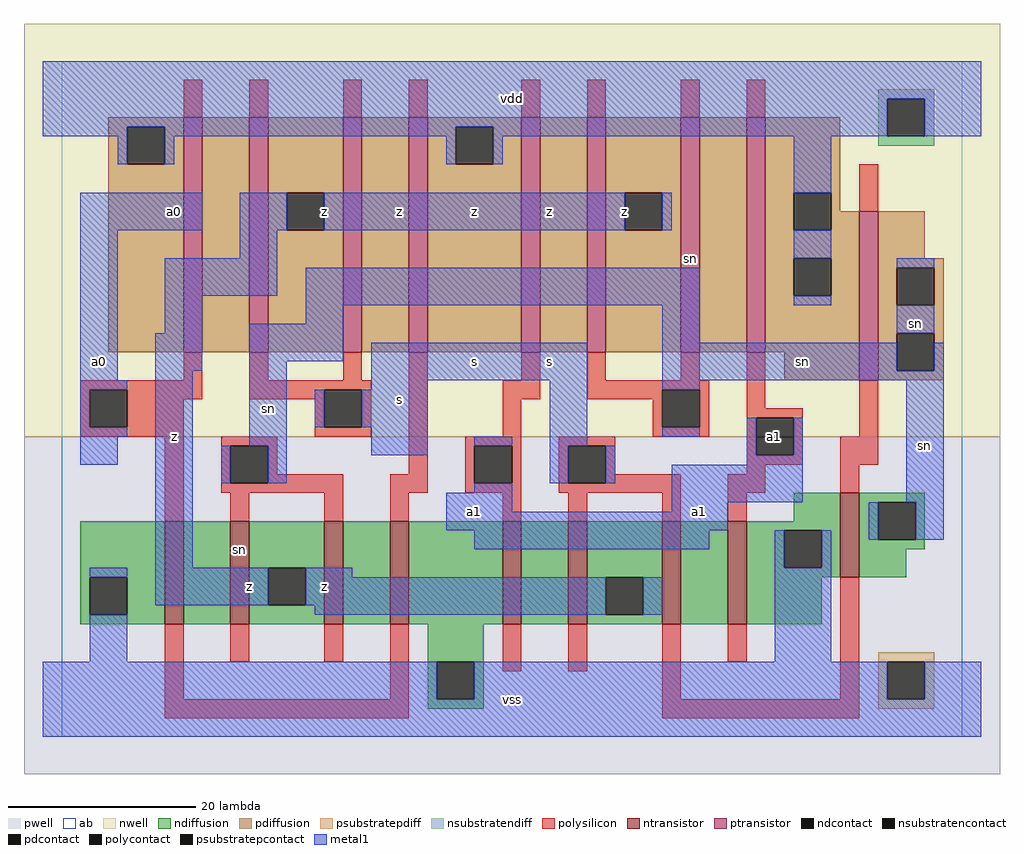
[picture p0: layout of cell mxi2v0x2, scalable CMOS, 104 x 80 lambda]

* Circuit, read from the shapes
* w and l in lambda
.subckt mxi2v0x2 a0 a1 s sn vdd vss z
M1 n1 a0 vss vss nfet w=11 l=2
M2 z sn n1 vss nfet w=11 l=2
M3 n2 sn z vss nfet w=11 l=2
M4 vss a0 n2 vss nfet w=11 l=2
M5 n3 a1 vss vss nfet w=11 l=2
M6 z s n3 vss nfet w=11 l=2
M7 n4 s z vss nfet w=11 l=2
M8 vss a1 n4 vss nfet w=11 l=2
M9 sn s vss vss nfet w=9 l=2
M10 n5 a0 vdd vdd pfet w=25 l=2
M11 z s n5 vdd pfet w=25 l=2
M12 n6 s z vdd pfet w=25 l=2
M13 vdd a0 n6 vdd pfet w=25 l=2
M14 n7 a1 vdd vdd pfet w=25 l=2
M15 z sn n7 vdd pfet w=25 l=2
M16 n8 sn z vdd pfet w=25 l=2
M17 vdd a1 n8 vdd pfet w=25 l=2
M18 sn s vdd vdd pfet w=18 l=2
.ends

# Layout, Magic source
magic
tech scmos
<< ab >>
rect 0 0 96 72
<< pwell >>
rect -4 -4 100 32
<< nwell >>
rect -4 32 100 76
<< polysilicon >>
rect 13 66 15 70
rect 20 66 22 70
rect 30 66 32 70
rect 37 66 39 70
rect 49 66 51 70
rect 56 66 58 70
rect 66 66 68 70
rect 73 66 75 70
rect 85 56 87 61
rect 13 38 15 41
rect 2 37 15 38
rect 2 33 3 37
rect 7 36 15 37
rect 20 38 22 41
rect 30 38 32 41
rect 20 37 33 38
rect 20 36 28 37
rect 7 33 13 36
rect 2 32 13 33
rect 27 33 28 36
rect 32 33 33 37
rect 27 32 33 33
rect 11 23 13 32
rect 17 31 23 32
rect 17 27 18 31
rect 22 28 23 31
rect 37 28 39 41
rect 49 38 51 41
rect 47 36 51 38
rect 56 38 58 41
rect 66 38 68 41
rect 56 37 69 38
rect 56 36 64 37
rect 47 32 49 36
rect 63 33 64 36
rect 68 33 69 37
rect 63 32 69 33
rect 73 35 75 41
rect 73 34 79 35
rect 22 27 30 28
rect 17 26 30 27
rect 18 23 20 26
rect 28 23 30 26
rect 35 26 39 28
rect 43 31 49 32
rect 43 27 44 31
rect 48 27 49 31
rect 43 26 49 27
rect 53 31 59 32
rect 53 27 54 31
rect 58 28 59 31
rect 73 30 74 34
rect 78 30 79 34
rect 85 32 87 38
rect 73 29 79 30
rect 83 29 87 32
rect 73 28 75 29
rect 58 27 66 28
rect 53 26 66 27
rect 35 23 37 26
rect 47 23 49 26
rect 54 23 56 26
rect 64 23 66 26
rect 71 26 75 28
rect 83 26 85 29
rect 71 23 73 26
rect 11 4 13 12
rect 18 8 20 12
rect 28 8 30 12
rect 35 4 37 12
rect 11 2 37 4
rect 47 7 49 12
rect 54 7 56 12
rect 64 4 66 12
rect 71 8 73 12
rect 83 4 85 17
rect 64 2 85 4
<< ndiffusion >>
rect 78 23 83 26
rect 2 17 11 23
rect 2 13 3 17
rect 7 13 11 17
rect 2 12 11 13
rect 13 12 18 23
rect 20 18 28 23
rect 20 14 22 18
rect 26 14 28 18
rect 20 12 28 14
rect 30 12 35 23
rect 37 12 47 23
rect 49 12 54 23
rect 56 17 64 23
rect 56 13 58 17
rect 62 13 64 17
rect 56 12 64 13
rect 66 12 71 23
rect 73 22 83 23
rect 73 18 77 22
rect 81 18 83 22
rect 73 17 83 18
rect 85 25 92 26
rect 85 21 87 25
rect 91 21 92 25
rect 85 20 92 21
rect 85 17 90 20
rect 73 12 81 17
rect 39 8 45 12
rect 39 4 40 8
rect 44 4 45 8
rect 39 3 45 4
<< pdiffusion >>
rect 5 65 13 66
rect 5 61 7 65
rect 11 61 13 65
rect 5 41 13 61
rect 15 41 20 66
rect 22 58 30 66
rect 22 54 24 58
rect 28 54 30 58
rect 22 41 30 54
rect 32 41 37 66
rect 39 65 49 66
rect 39 61 42 65
rect 46 61 49 65
rect 39 41 49 61
rect 51 41 56 66
rect 58 58 66 66
rect 58 54 60 58
rect 64 54 66 58
rect 58 41 66 54
rect 68 41 73 66
rect 75 58 83 66
rect 75 54 78 58
rect 82 56 83 58
rect 82 54 85 56
rect 75 51 85 54
rect 75 47 78 51
rect 82 47 85 51
rect 75 41 85 47
rect 77 38 85 41
rect 87 51 92 56
rect 87 50 94 51
rect 87 46 89 50
rect 93 46 94 50
rect 87 43 94 46
rect 87 39 89 43
rect 93 39 94 43
rect 87 38 94 39
<< metal1 >>
rect -2 68 98 72
rect -2 65 88 68
rect -2 64 7 65
rect 6 61 7 64
rect 11 64 42 65
rect 11 61 12 64
rect 41 61 42 64
rect 46 64 88 65
rect 92 64 98 68
rect 46 61 47 64
rect 78 58 82 64
rect 2 54 15 58
rect 19 54 24 58
rect 28 54 60 58
rect 64 54 65 58
rect 2 38 6 54
rect 19 51 23 54
rect 11 47 23 51
rect 78 51 82 54
rect 11 43 15 47
rect 26 46 68 50
rect 78 46 82 47
rect 89 50 93 51
rect 26 44 30 46
rect 10 39 15 43
rect 20 40 30 44
rect 64 42 68 46
rect 89 43 93 46
rect 2 37 7 38
rect 2 33 3 37
rect 2 32 7 33
rect 2 29 6 32
rect 10 18 14 39
rect 20 31 24 40
rect 33 38 56 42
rect 33 37 39 38
rect 27 33 28 37
rect 32 33 39 37
rect 17 27 18 31
rect 22 27 24 31
rect 33 30 39 33
rect 44 31 48 32
rect 52 31 56 38
rect 64 39 89 42
rect 93 39 94 42
rect 64 38 94 39
rect 64 37 68 38
rect 64 32 68 33
rect 52 27 54 31
rect 58 27 59 31
rect 73 30 74 34
rect 78 30 79 34
rect 73 29 79 30
rect 44 26 48 27
rect 41 24 48 26
rect 65 25 79 29
rect 90 25 94 38
rect 65 24 71 25
rect 41 22 71 24
rect 44 20 69 22
rect 76 18 77 22
rect 81 18 82 22
rect 86 21 87 25
rect 91 21 94 25
rect 3 17 7 18
rect 10 14 22 18
rect 26 17 31 18
rect 26 14 58 17
rect 27 13 58 14
rect 62 13 64 17
rect 3 8 7 13
rect 76 8 82 18
rect -2 4 40 8
rect 44 4 88 8
rect 92 4 98 8
rect -2 0 98 4
<< ntransistor >>
rect 11 12 13 23
rect 18 12 20 23
rect 28 12 30 23
rect 35 12 37 23
rect 47 12 49 23
rect 54 12 56 23
rect 64 12 66 23
rect 71 12 73 23
rect 83 17 85 26
<< ptransistor >>
rect 13 41 15 66
rect 20 41 22 66
rect 30 41 32 66
rect 37 41 39 66
rect 49 41 51 66
rect 56 41 58 66
rect 66 41 68 66
rect 73 41 75 66
rect 85 38 87 56
<< polycontact >>
rect 3 33 7 37
rect 28 33 32 37
rect 18 27 22 31
rect 64 33 68 37
rect 44 27 48 31
rect 54 27 58 31
rect 74 30 78 34
<< ndcontact >>
rect 3 13 7 17
rect 22 14 26 18
rect 58 13 62 17
rect 77 18 81 22
rect 87 21 91 25
rect 40 4 44 8
<< pdcontact >>
rect 7 61 11 65
rect 24 54 28 58
rect 42 61 46 65
rect 60 54 64 58
rect 78 54 82 58
rect 78 47 82 51
rect 89 46 93 50
rect 89 39 93 43
<< psubstratepcontact >>
rect 88 4 92 8
<< nsubstratencontact >>
rect 88 64 92 68
<< psubstratepdiff >>
rect 87 8 93 9
rect 87 4 88 8
rect 92 4 93 8
rect 87 3 93 4
<< nsubstratendiff >>
rect 87 68 93 69
rect 87 64 88 68
rect 92 64 93 68
rect 87 63 93 64
<< labels >>
rlabel ntransistor 19 20 19 20 6 sn
rlabel ptransistor 67 51 67 51 6 sn
rlabel metal1 12 32 12 32 6 z
rlabel metal1 4 40 4 40 6 a0
rlabel metal1 12 56 12 56 6 a0
rlabel metal1 28 16 28 16 6 z
rlabel metal1 20 16 20 16 6 z
rlabel metal1 22 35 22 35 6 sn
rlabel metal1 28 56 28 56 6 z
rlabel metal1 48 4 48 4 6 vss
rlabel metal1 44 24 44 24 6 a1
rlabel metal1 36 36 36 36 6 s
rlabel metal1 52 40 52 40 6 s
rlabel metal1 44 40 44 40 6 s
rlabel metal1 52 56 52 56 6 z
rlabel metal1 44 56 44 56 6 z
rlabel metal1 36 56 36 56 6 z
rlabel metal1 48 68 48 68 6 vdd
rlabel metal1 68 24 68 24 6 a1
rlabel polycontact 76 32 76 32 6 a1
rlabel metal1 60 56 60 56 6 z
rlabel metal1 92 31 92 31 6 sn
rlabel metal1 79 40 79 40 6 sn
rlabel metal1 91 44 91 44 6 sn
<< end >>
